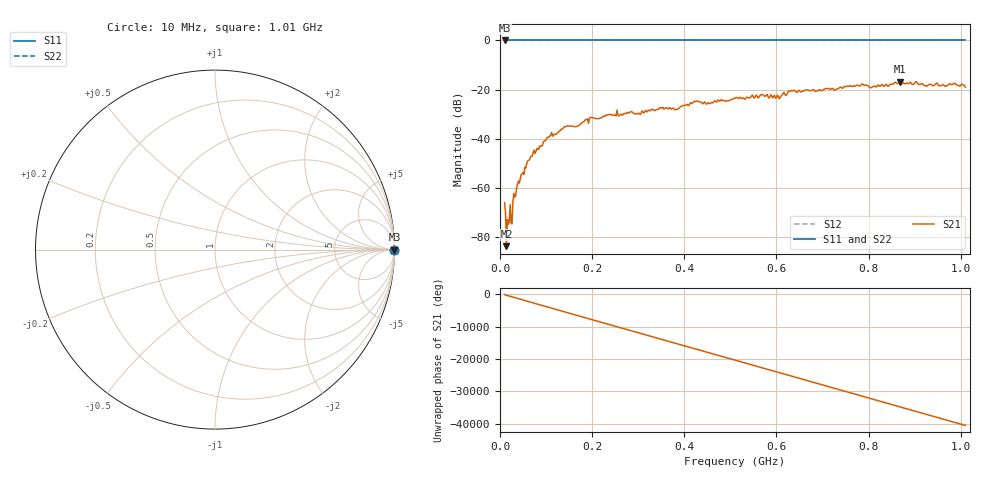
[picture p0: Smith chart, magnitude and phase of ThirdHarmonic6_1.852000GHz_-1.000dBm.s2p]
! 8/16/2025 10:24:34 PM
! C:\ANRITSUVNA\TEMP\TEMP.S2P
! CHANNEL.1
! TR.MEASUREMENT
! RAW.DATA
! RF.CORRECTION.OFF
! AVERAGING.OFF
! IF.BANDWIDTH: 5KHZ
! SWEEPTYPE:  FREQ.SWEEP(Linear)
! Reference Plane Port Info
! PORT:  PORT1  PORT2
! DISTANCE:  0  m  0  m
! TIME:  0  s  0  s
! PHASE.OFFSET:  0  deg.  0  deg.
! LOSS:  0  dB  0  dB
! REF.LOSS:  0  dB  0  dB
! REF.FREQ:  0  Hz  0  Hz
! Power Info
! POWER:  -20  dBm  -20  dBm
! EFF.POWER:  -20  dBm  -20  dBm
! SOURCE.ATTEN:  0  dB  0  dB
! TEST.ATTEN:  0  dB  0  dB
# GHZ S RI R 50.0
! FREQ.GHZ  S11RE  S11IM  S21RE  S21IM  S12RE  S12IM  S22RE  S22IM
!; PortSelection: Port_12
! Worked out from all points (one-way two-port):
!   501 points, 10 MHz to 1.01 GHz, reference 50 ohm
!   highest |S21| = -16.85 dB at 868 MHz (marker M1); lowest = -83.8 dB at 14 MHz (marker M2)
!   lowest |S11| = 0.0 dB at 10 MHz (marker M3)
!   |S11| at or under -10 dB: nowhere
!   |S22| runs from 0.0 to 0.0 dB; largest |S21 - S12| = 1.1
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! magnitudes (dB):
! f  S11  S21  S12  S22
! 10 MHz  0.0  -66.0  0.0  0.0
! 14 MHz  0.0  -83.8  0.0  0.0
! 16 MHz  0.0  -72.9  0.0  0.0
! 22 MHz  0.0  -66.9  0.0  0.0
! 28 MHz  0.0  -65.9  0.0  0.0
! 32 MHz  0.0  -63.8  0.0  0.0
! 40 MHz  0.0  -57.3  0.0  0.0
! 70 MHz  0.0  -47.1  0.0  0.0
! 108 MHz  0.0  -38.9  0.0  0.0
! 178 MHz  0.0  -33.5  0.0  0.0
! 198 MHz  0.0  -31.4  0.0  0.0
! 344 MHz  0.0  -28.1  0.0  0.0
! 384 MHz  0.0  -28.0  0.0  0.0
! 424 MHz  0.0  -25.0  0.0  0.0
! 452 MHz  0.0  -25.3  0.0  0.0
! 510 MHz  0.0  -23.5  0.0  0.0
! 602 MHz  0.0  -22.3  0.0  0.0
! 630 MHz  0.0  -20.6  0.0  0.0
! 678 MHz  0.0  -20.2  0.0  0.0
! 844 MHz  0.0  -18.5  0.0  0.0
! 868 MHz  0.0  -16.8  0.0  0.0
! 1.01 GHz  0.0  -19.0  0.0  0.0
